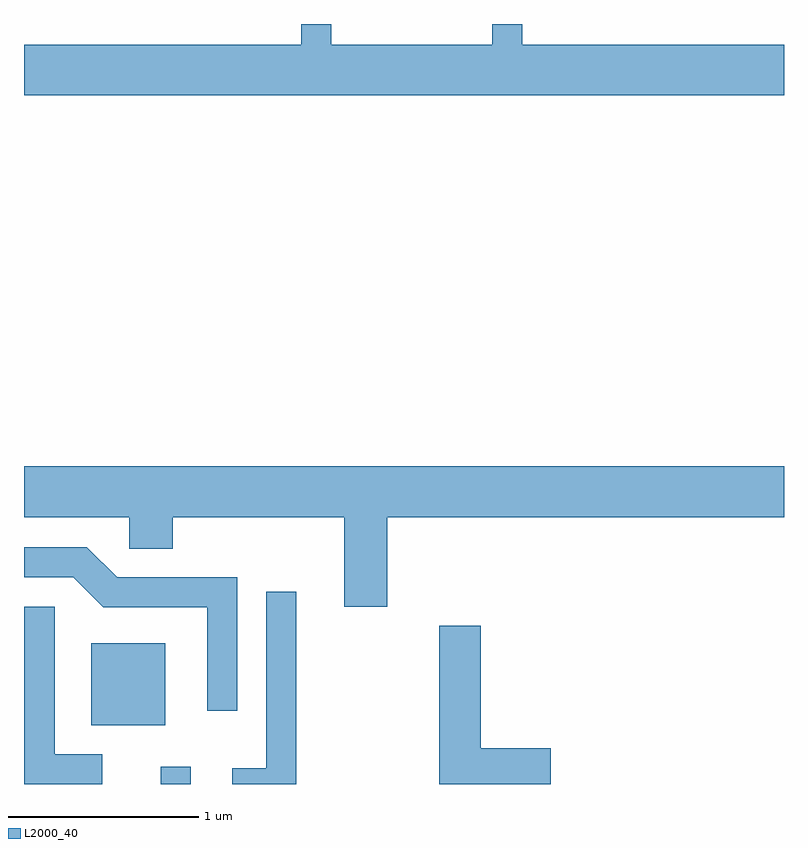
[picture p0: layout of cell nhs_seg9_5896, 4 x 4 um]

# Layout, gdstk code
import gdstk
lib = gdstk.Library(unit=1e-6, precision=1e-09)
def R(c, l, rs):  # rectangles x0, y0, x1, y1
    for r in rs: c.add(gdstk.rectangle(r[:2], r[2:], *l))
def P(c, l, *ps):  # polygons
    for p in ps: c.add(gdstk.Polygon(p, *l))
L2000_40 = (2000, 40)

nhs_seg9_5896 = lib.new_cell('nhs_seg9_5896')
R(nhs_seg9_5896, L2000_40, [(360.331,1970.432,360.489,1970.523), (359.966,1970.741,360.354,1971.174)])
P(nhs_seg9_5896, L2000_40, [(363.611,1974.324),(362.234,1974.324),(362.234,1974.432),(362.076,1974.432),(362.076,1974.324),(361.229,1974.324),(361.229,1974.432),(361.071,1974.432),(361.071,1974.324),(359.611,1974.324),(359.611,1974.056),(363.611,1974.056)],
  [(361.524,1971.836),(363.611,1971.836),(363.611,1972.104),(359.611,1972.104),(359.611,1971.836),(360.166,1971.836),(360.166,1971.671),(360.394,1971.671),(360.394,1971.836),(361.296,1971.836),(361.296,1971.366),(361.524,1971.366)],
  [(360.734,1971.519),(360.102,1971.519),(359.942,1971.679),(359.611,1971.679),(359.611,1971.521),(359.869,1971.521),(360.029,1971.361),(360.576,1971.361),(360.576,1970.818),(360.734,1970.818)],
  [(361.044,1971.443),(360.886,1971.443),(360.886,1970.514),(360.706,1970.514),(360.706,1970.432),(361.044,1970.432)],
  [(360.024,1970.589),(359.774,1970.589),(359.774,1971.364),(359.611,1971.364),(359.611,1970.432),(360.024,1970.432)],
  [(362.384,1970.619),(362.014,1970.619),(362.014,1971.264),(361.796,1971.264),(361.796,1970.432),(362.384,1970.432)])

lib.write_gds('nhs_seg9_5896.gds')
